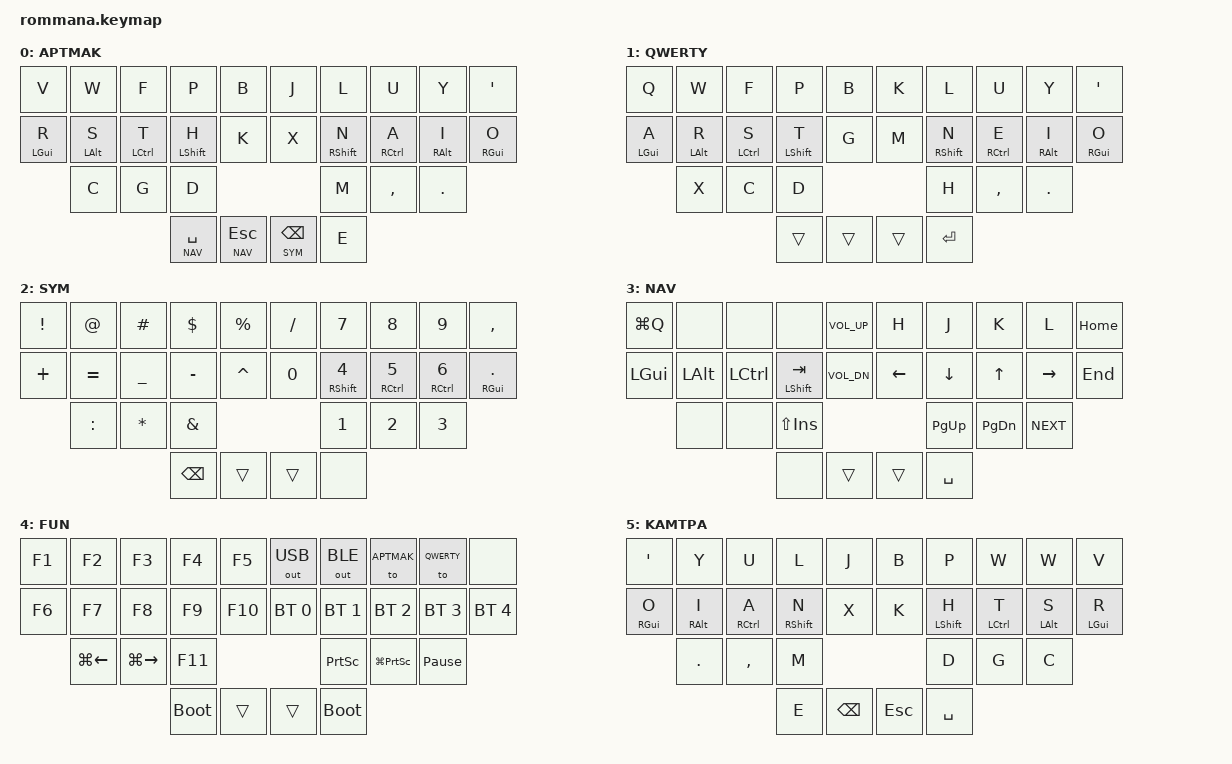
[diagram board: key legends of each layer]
#define MOUSE_KEYS

#include <behaviors.dtsi>
#include <dt-bindings/zmk/keys.h>
#include <dt-bindings/zmk/bt.h>
#include <dt-bindings/zmk/outputs.h>
#ifdef EXTERNAL_POWER
#    include <dt-bindings/zmk/ext_power.h>
#endif

// Layer aliases
#define APTMAK 0
#define QWERTY 1
#define SYM 2
#define NAV 3
#define FUN 4
#define SWPL 5

// Desktop and tab navigation shortcuts
#define D_LT   LG(LEFT)
#define D_RT   LG(RIGHT)
#define TAB_RT LC(TAB)
#define TAB_LT LC(LS(TAB))

// Key position groups and extra key bindings
#    define KEYS_L 0 1 2 3 4 10 11 12 13 14 20 21 22
#    define KEYS_R 5 6 7 8 9 15 16 17 18 19 23 24 25
#    define SWP_POS 20
#    define THUMBS 26 27 28 29

#include "combos.dtsi"

&mt {
    flavor = "hold-preferred";
    tapping-term-ms = <150>;
};

&lt {
    flavor = "balanced";
    tapping-term-ms = <150>;
};

&sl {
    release-after-ms = <3000>;
};


&caps_word {
    continue-list = <UNDERSCORE MINUS BSPC DEL N1 N2 N3 N4 N5 N6 N7 N8 N9 N0>;
};

/ {
    behaviors {
        aml: alpha_mods_l {
            compatible = "zmk,behavior-hold-tap";
            #binding-cells = <2>;
            tapping-term-ms = <250>;
            quick-tap-ms = <150>;
            flavor = "balanced";
            bindings = <&kp>, <&kp>;
            hold-trigger-key-positions = <KEYS_R THUMBS>;
            hold-trigger-on-release;
            require-prior-idle-ms = <100>;
        };
        asl: alpha_shift_l {
            compatible = "zmk,behavior-hold-tap";
            #binding-cells = <2>;
            tapping-term-ms = <200>;
            quick-tap-ms = <150>;
            flavor = "balanced";
            bindings = <&kp>, <&kp>;
            hold-trigger-key-positions = <KEYS_R THUMBS>;
            hold-trigger-on-release;
        };
        amr: alpha_mods_r {
            compatible = "zmk,behavior-hold-tap";
            #binding-cells = <2>;
            tapping-term-ms = <250>;
            quick-tap-ms = <150>;
            flavor = "balanced";
            bindings = <&kp>, <&kp>;
            hold-trigger-key-positions = <KEYS_L THUMBS>;
            hold-trigger-on-release;
            require-prior-idle-ms = <100>;
        };
        asr: alpha_shift_r {
            compatible = "zmk,behavior-hold-tap";
            #binding-cells = <2>;
            tapping-term-ms = <200>;
            quick-tap-ms = <150>;
            flavor = "balanced";
            bindings = <&kp>, <&kp>;
            hold-trigger-key-positions = <KEYS_L THUMBS>;
            hold-trigger-on-release;
        };
    };

    cond_layers {
        compatible = "zmk,conditional-layers";
        // Define FUN layer as tri-state
        func_tristate {
            if-layers = <NAV SYM>;
            then-layer = <FUN>;
        };
    };

    keymap {
        compatible = "zmk,keymap";

        aptmak_layer {
            display-name = "APTMAK";
            bindings = <
// ╭─────────────┬─────────────┬─────────────┬─────────────┬─────────────╮   ╭─────────────┬─────────────┬─────────────┬─────────────┬─────────────╮
     &kp V         &kp W         &kp F         &kp P         &kp B             &kp J         &kp L         &kp U         &kp Y         &kp SQT
// ├─────────────┼─────────────┼─────────────┼─────────────┼─────────────┤   ├─────────────┼─────────────┼─────────────┼─────────────┼─────────────┤
     &aml LGUI R   &aml LALT S   &aml LCTRL T  &asl LSHFT H  &kp K             &kp X         &asr RSHFT N  &amr RCTRL A  &amr RALT I   &amr RGUI O
// ╰─────────────┼─────────────┼─────────────┼─────────────┼─────────────╯   ╰─────────────┼─────────────┼─────────────┼─────────────┼─────────────╯
                   &kp C         &kp G         &kp D                                         &kp M         &kp COMMA     &kp DOT
//               ╰─────────────┴─────────────┼─────────────┼─────────────╮   ╭─────────────┼─────────────┼─────────────┴─────────────╯
                                               &lt NAV SPACE &lt NAV ESC        &lt SYM BSPC  &kp E
//                                           ╰─────────────┴─────────────╯   ╰─────────────┴─────────────╯
            >;
        };

        qwerty_layer {
            display-name = "QWERTY";
            bindings = <
// ╭─────────────┬─────────────┬─────────────┬─────────────┬─────────────╮   ╭─────────────┬─────────────┬─────────────┬─────────────┬─────────────╮
     &kp Q         &kp W         &kp F         &kp P         &kp B             &kp K         &kp L         &kp U         &kp Y         &kp SQT
// ├─────────────┼─────────────┼─────────────┼─────────────┼─────────────┤   ├─────────────┼─────────────┼─────────────┼─────────────┼─────────────┤
     &aml LGUI A   &aml LALT R   &aml LCTRL S  &asl LSHFT T  &kp G             &kp M         &asr RSHFT N  &amr RCTRL E  &amr RALT I   &amr RGUI O
// ╰─────────────┼─────────────┼─────────────┼─────────────┼─────────────╯   ╰─────────────┼─────────────┼─────────────┼─────────────┼─────────────╯
                   &kp X         &kp C         &kp D                                         &kp H         &kp COMMA     &kp DOT
//               ╰─────────────┴─────────────┼─────────────┼─────────────╮   ╭─────────────┼─────────────┼─────────────┴─────────────╯
                                               &trans        &trans            &trans        &kp RET
//                                           ╰─────────────┴─────────────╯   ╰─────────────┴─────────────╯
            >;
        };

        symbol_layer {
            display-name = "SYM";
            bindings = <
// ╭─────────────┬─────────────┬─────────────┬─────────────┬─────────────╮   ╭─────────────┬─────────────┬─────────────┬─────────────┬─────────────╮
     &kp EXCL      &kp AT        &kp HASH      &kp DLLR      &kp PRCNT         &kp SLASH     &kp N7        &kp N8        &kp N9        &kp COMMA
// ├─────────────┼─────────────┼─────────────┼─────────────┼─────────────┤   ├─────────────┼─────────────┼─────────────┼─────────────┼─────────────┤
     &kp PLUS      &kp EQUAL     &kp UNDER     &kp MINUS     &kp CARET         &kp N0        &amr RSHFT N4 &amr RCTRL N5 &amr RCTRL N6 &amr RGUI DOT
// ╰─────────────┼─────────────┼─────────────┼─────────────┼─────────────╯   ╰─────────────┼─────────────┼─────────────┼─────────────┼─────────────╯
                   &kp COLON     &kp STAR      &kp AMPS                                      &kp N1        &kp N2        &kp N3
//               ╰─────────────┴─────────────┼─────────────┼─────────────╮   ╭─────────────┼─────────────┼─────────────┴─────────────╯
                                               &kp BSPC      &trans            &trans        &none
//                                           ╰─────────────┴─────────────╯   ╰─────────────┴─────────────╯
            >;
        };

        nav_layer {
            display-name = "NAV";
            bindings = <
// ╭─────────────┬─────────────┬─────────────┬─────────────┬─────────────╮   ╭─────────────┬─────────────┬─────────────┬─────────────┬─────────────╮
     &kp LG(Q)     &none         &none         &none         &kp C_VOL_UP      &kp H         &kp J         &kp K         &kp L         &kp HOME
// ├─────────────┼─────────────┼─────────────┼─────────────┼─────────────┤   ├─────────────┼─────────────┼─────────────┼─────────────┼─────────────┤
     &kp LGUI      &kp LALT      &kp LCTRL     &mt LSHFT TAB &kp C_VOL_DN      &kp LEFT      &kp DOWN      &kp UP        &kp RIGHT     &kp END
// ╰─────────────┼─────────────┼─────────────┼─────────────┼─────────────╯   ╰─────────────┼─────────────┼─────────────┼─────────────┼─────────────╯
                   &none         &none         &kp LS(INS)                                   &kp PG_UP     &kp PG_DN     &kp C_NEXT
//               ╰─────────────┴─────────────┼─────────────┼─────────────╮   ╭─────────────┼─────────────┼─────────────┴─────────────╯
                                               &none        &trans             &trans        &kp SPACE
//                                           ╰─────────────┴─────────────╯   ╰─────────────┴─────────────╯
            >;
        };

        function_layer {
            display-name = "FUN";
            bindings = <
// ╭─────────────┬─────────────┬─────────────┬─────────────┬─────────────╮   ╭─────────────┬─────────────┬─────────────┬─────────────┬─────────────╮
     &kp F1        &kp F2        &kp F3        &kp F4        &kp F5            &out OUT_USB  &out OUT_BLE  &to APTMAK    &to QWERTY    &none
// ├─────────────┼─────────────┼─────────────┼─────────────┼─────────────┤   ├─────────────┼─────────────┼─────────────┼─────────────┼─────────────┤
     &kp F6        &kp F7        &kp F8        &kp F9        &kp F10           &bt BT_SEL 0  &bt BT_SEL 1  &bt BT_SEL 2  &bt BT_SEL 3  &bt BT_SEL 4
// ╰─────────────┼─────────────┼─────────────┼─────────────┼─────────────╯   ╰─────────────┼─────────────┼─────────────┼─────────────┼─────────────╯
                   &kp D_LT      &kp D_RT      &kp F11                                       &kp PSCRN     &kp LG(PSCRN) &kp PAUSE_BREAK
//               ╰─────────────┴─────────────┼─────────────┼─────────────╮   ╭─────────────┼─────────────┼─────────────┴─────────────╯
                                               &bootloader   &trans            &trans        &bootloader
//                                           ╰─────────────┴─────────────╯   ╰─────────────┴─────────────╯
            >;
        };

        // poor man's swap hands - figure out a better way
        swp_layer {
            display-name = "KAMTPA";
            bindings = <
// ╭─────────────┬─────────────┬─────────────┬─────────────┬─────────────╮   ╭─────────────┬─────────────┬─────────────┬─────────────┬─────────────╮
     &kp SQT       &kp Y         &kp U         &kp L         &kp J             &kp B         &kp P         &kp W         &kp W         &kp V
// ├─────────────┼─────────────┼─────────────┼─────────────┼─────────────┤   ├─────────────┼─────────────┼─────────────┼─────────────┼─────────────┤
     &amr RGUI O   &amr RALT I   &amr RCTRL A  &asr RSHFT N  &kp X             &kp K         &asl LSHFT H  &aml LCTRL T  &aml LALT S   &aml LGUI R
// ╰─────────────┼─────────────┼─────────────┼─────────────┼─────────────╯   ╰─────────────┼─────────────┼─────────────┼─────────────┼─────────────╯
                   &kp DOT       &kp COMMA     &kp M                                         &kp D         &kp G         &kp C
//               ╰─────────────┴─────────────┼─────────────┼─────────────╮   ╭─────────────┼─────────────┼─────────────┴─────────────╯
                                               &kp E         &kp BSPC          &kp ESC       &kp SPACE
//                                           ╰─────────────┴─────────────╯   ╰─────────────┴─────────────╯
            >;
        };
    };
};
